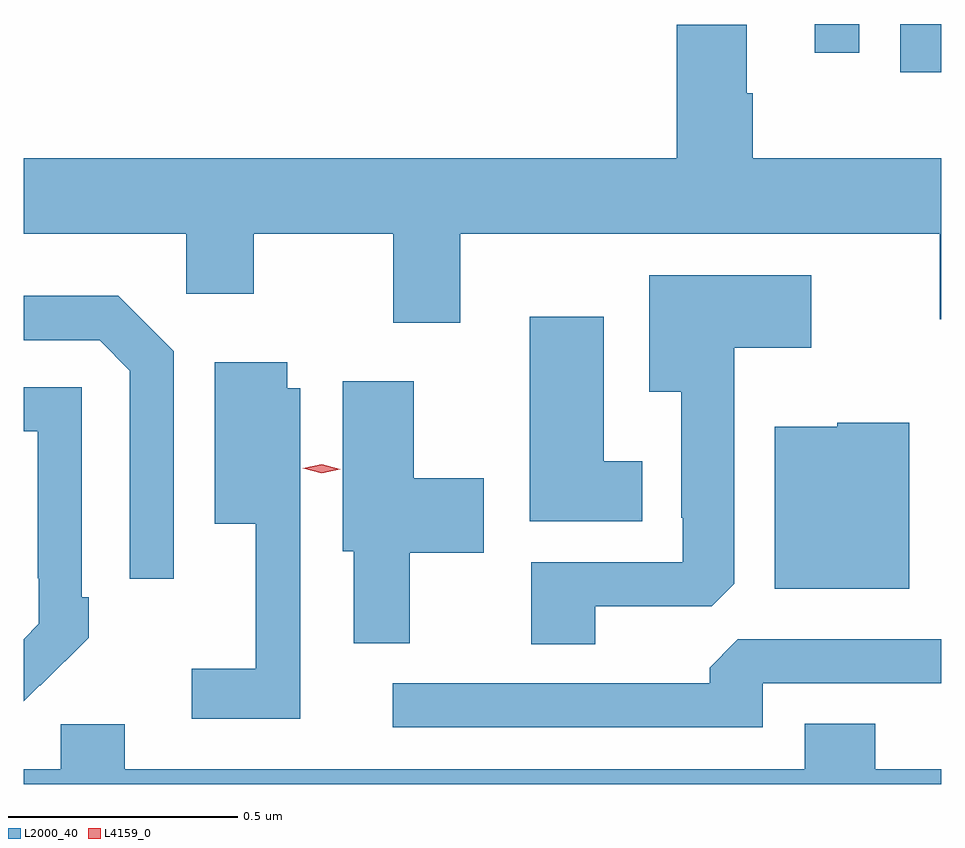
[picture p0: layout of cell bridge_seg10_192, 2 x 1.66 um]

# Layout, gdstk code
import gdstk
lib = gdstk.Library(unit=1e-6, precision=1e-09)
def R(c, l, rs):  # rectangles x0, y0, x1, y1
    for r in rs: c.add(gdstk.rectangle(r[:2], r[2:], *l))
def P(c, l, *ps):  # polygons
    for p in ps: c.add(gdstk.Polygon(p, *l))
L2000_40 = (2000, 40)
L4159_0 = (4159, 0)

bridge_seg10_192 = lib.new_cell('bridge_seg10_192')
R(bridge_seg10_192, L2000_40, [(152.367,1250.052,152.456,1250.157), (152.18,1250.094,152.277,1250.157)])
P(bridge_seg10_192, L2000_40, [(151.408,1249.7),(152.453,1249.7),(152.453,1249.513),(152.456,1249.513),(152.456,1249.864),(152.045,1249.864),(152.045,1250.006),(152.032,1250.006),(152.032,1250.155),(151.88,1250.155),(151.88,1249.864),(150.456,1249.864),(150.456,1249.7),(150.81,1249.7),(150.81,1249.569),(150.957,1249.569),(150.957,1249.7),(151.261,1249.7),(151.261,1249.506),(151.408,1249.506)],
  [(151.702,1248.888),(151.956,1248.888),(152.005,1248.937),(152.005,1249.451),(152.173,1249.451),(152.173,1249.609),(151.82,1249.609),(151.82,1249.355),(151.889,1249.355),(151.889,1249.081),(151.893,1249.081),(151.893,1248.984),(151.562,1248.984),(151.562,1248.805),(151.702,1248.805)],
  [(150.783,1249.443),(150.662,1249.564),(150.456,1249.564),(150.456,1249.467),(150.621,1249.467),(150.687,1249.401),(150.687,1248.948),(150.783,1248.948)],
  [(151.804,1249.204),(151.72,1249.204),(151.72,1249.519),(151.559,1249.519),(151.559,1249.073),(151.804,1249.073)],
  [(151.059,1249.363),(151.03,1249.363),(151.03,1249.42),(150.872,1249.42),(150.872,1249.067),(150.962,1249.067),(150.962,1248.751),(150.822,1248.751),(150.822,1248.642),(151.059,1248.642)],
  [(151.297,1249.004),(151.459,1249.004),(151.459,1249.167),(151.306,1249.167),(151.306,1249.378),(151.151,1249.378),(151.151,1249.008),(151.175,1249.008),(151.175,1248.807),(151.297,1248.807)],
  [(150.491,1248.715),(150.492,1248.714),(150.597,1248.819),(150.597,1248.907),(150.582,1248.907),(150.582,1249.365),(150.456,1249.365),(150.456,1249.269),(150.486,1249.269),(150.486,1248.949),(150.489,1248.949),(150.489,1248.849),(150.456,1248.816),(150.456,1248.68)],
  [(152.386,1249.288),(152.229,1249.288),(152.229,1249.279),(152.093,1249.279),(152.093,1248.926),(152.386,1248.926)],
  [(152.067,1248.72),(152.456,1248.72),(152.456,1248.816),(152.013,1248.816),(152.005,1248.808),(151.952,1248.754),(151.952,1248.72),(151.26,1248.72),(151.26,1248.624),(152.067,1248.624)],
  [(152.456,1248.532),(152.312,1248.532),(152.312,1248.631),(152.159,1248.631),(152.159,1248.532),(150.676,1248.532),(150.676,1248.63),(150.537,1248.63),(150.537,1248.532),(150.456,1248.532),(150.456,1248.5),(152.456,1248.5)])
P(bridge_seg10_192, L4159_0, [(151.105,1249.177),(151.064,1249.188),(151.064,1249.188),(151.064,1249.188),(151.105,1249.197),(151.146,1249.186),(151.146,1249.186),(151.146,1249.186)])

lib.write_gds('bridge_seg10_192.gds')
